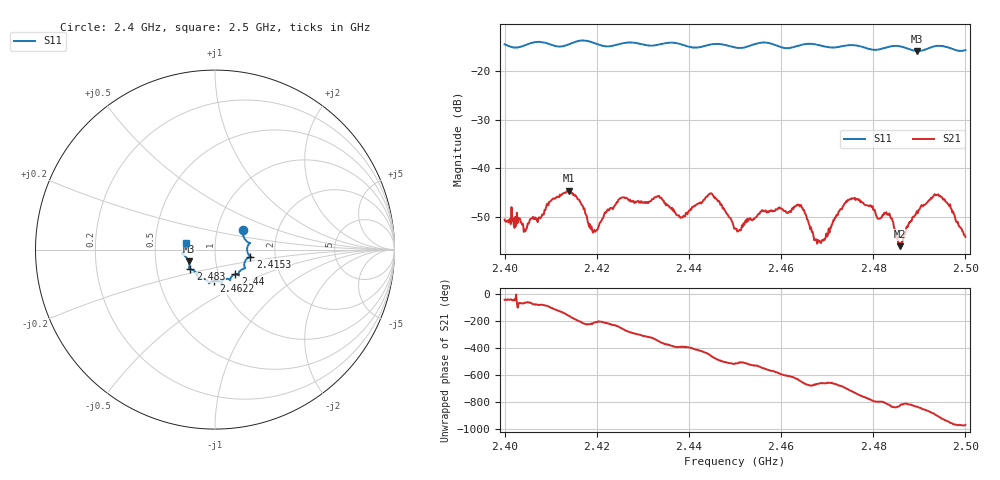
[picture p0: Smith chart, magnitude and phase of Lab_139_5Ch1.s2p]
# Hz S RI R 50
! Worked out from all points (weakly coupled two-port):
!   601 points, 2.4 GHz to 2.5 GHz, reference 50 ohm
!   highest |S21| = -44.64 dB at 2.414 GHz (marker M1); lowest = -56.1 dB at 2.4858 GHz (marker M2)
!   lowest |S11| = -15.9 dB at 2.4895 GHz (marker M3), VSWR 1.38, Z = 36.9 - j5 ohm
!   |S11| at or under -10 dB: start of sweep to end of sweep
!   S12 and S22 are empty: the file has one direction only
!   S11 on the Smith chart (normalised r, x): 2.4 GHz: 1.33, +0.29; 2.4153 GHz: 1.48, -0.12; 2.44 GHz: 1.20, -0.34; 2.4622 GHz: 0.93, -0.33; 2.483 GHz: 0.74, -0.17; 2.5 GHz: 0.72, +0.06
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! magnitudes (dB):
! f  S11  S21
! 2.4 GHz  -14.5  -50.6
! 2.4047 GHz  -14.6  -52.6
! 2.414 GHz  -14.5  -44.6
! 2.4153 GHz  -14.0  -45.6
! 2.4167 GHz  -13.7  -47.4
! 2.4197 GHz  -14.3  -53.1
! 2.4252 GHz  -14.4  -46.2
! 2.4333 GHz  -14.6  -45.8
! 2.44 GHz  -15.0  -48.8
! 2.4448 GHz  -14.5  -45.2
! 2.45 GHz  -15.1  -52.4
! 2.4622 GHz  -15.2  -49.1
! 2.4642 GHz  -14.7  -47.6
! 2.4667 GHz  -14.4  -53.2
! 2.469 GHz  -14.9  -54.8
! 2.4755 GHz  -14.7  -46.3
! 2.483 GHz  -15.1  -49.6
! 2.4833 GHz  -15.0  -49.7
! 2.4858 GHz  -14.9  -56.1
! 2.4895 GHz  -15.9  -48.9
! 2.4943 GHz  -14.8  -45.8
! 2.5 GHz  -15.7  -54.2
